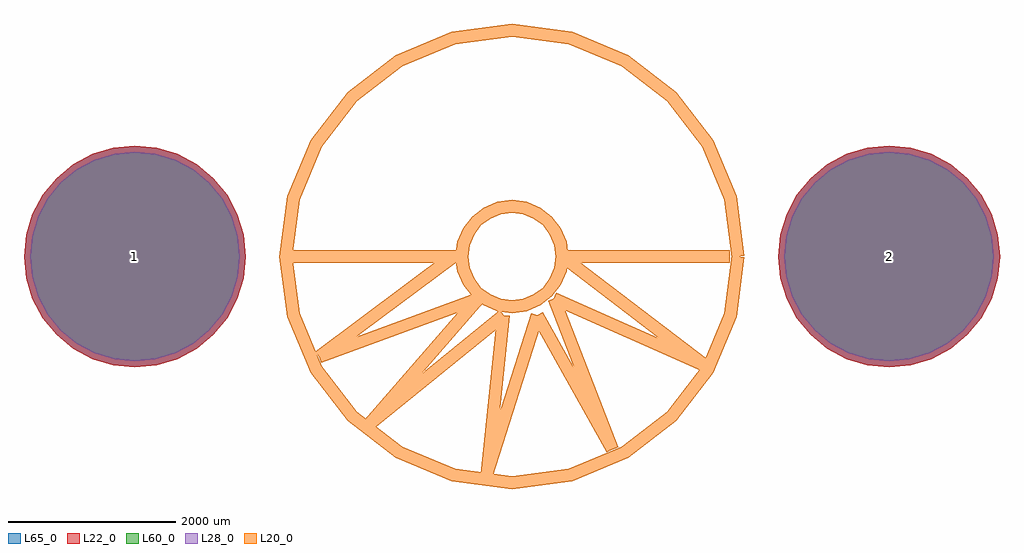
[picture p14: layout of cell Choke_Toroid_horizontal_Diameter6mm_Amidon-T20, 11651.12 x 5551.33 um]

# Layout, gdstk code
import gdstk
lib = gdstk.Library(unit=1e-6, precision=1e-09)
def P(c, l, *ps):  # polygons
    for p in ps: c.add(gdstk.Polygon(p, *l))
L20_0 = (20, 0)
L22_0 = (22, 0)
L28_0 = (28, 0)
L60_0 = (60, 0)
L65_0 = (65, 0)

choke_toroid_horizontal_ = lib.new_cell('Choke_Toroid_horizontal_Diameter6mm_Amidon-T20')
P(choke_toroid_horizontal_, L22_0, [(5825.56,0),(5800.107,258.432),(5724.725,506.933),(5602.311,735.953),(5437.57,936.69),(5236.833,1101.431),(5007.813,1223.845),(4759.312,1299.227),(4500.88,1324.68),(4242.448,1299.227),(3993.947,1223.845),(3764.927,1101.431),(3564.19,936.69),(3399.449,735.953),(3277.035,506.933),(3201.653,258.432),(3176.2,0),(3201.653,-258.432),(3277.035,-506.933),(3399.449,-735.953),(3564.19,-936.69),(3764.927,-1101.431),(3993.947,-1223.845),(4242.448,-1299.227),(4500.88,-1324.68),(4759.312,-1299.227),(5007.813,-1223.845),(5236.833,-1101.431),(5437.57,-936.69),(5602.311,-735.953),(5724.725,-506.933),(5800.107,-258.432)],
  [(-3176.2,0),(-3201.653,258.432),(-3277.035,506.933),(-3399.449,735.953),(-3564.19,936.69),(-3764.927,1101.431),(-3993.947,1223.845),(-4242.448,1299.227),(-4500.88,1324.68),(-4759.312,1299.227),(-5007.813,1223.845),(-5236.833,1101.431),(-5437.57,936.69),(-5602.311,735.953),(-5724.725,506.933),(-5800.107,258.432),(-5825.56,0),(-5800.107,-258.432),(-5724.725,-506.933),(-5602.311,-735.953),(-5437.57,-936.69),(-5236.833,-1101.431),(-5007.813,-1223.845),(-4759.312,-1299.227),(-4500.88,-1324.68),(-4242.448,-1299.227),(-3993.947,-1223.845),(-3764.927,-1101.431),(-3564.19,-936.69),(-3399.449,-735.953),(-3277.035,-506.933),(-3201.653,-258.432)])
P(choke_toroid_horizontal_, L28_0, [(5750.56,0),(5726.548,243.8),(5655.434,478.232),(5539.951,694.285),(5384.537,883.657),(5195.165,1039.071),(4979.112,1154.554),(4744.68,1225.668),(4500.88,1249.68),(4257.08,1225.668),(4022.648,1154.554),(3806.595,1039.071),(3617.223,883.657),(3461.809,694.285),(3346.326,478.232),(3275.212,243.8),(3251.2,0),(3275.212,-243.8),(3346.326,-478.232),(3461.809,-694.285),(3617.223,-883.657),(3806.595,-1039.071),(4022.648,-1154.554),(4257.08,-1225.668),(4500.88,-1249.68),(4744.68,-1225.668),(4979.112,-1154.554),(5195.165,-1039.071),(5384.537,-883.657),(5539.951,-694.285),(5655.434,-478.232),(5726.548,-243.8)],
  [(-3251.2,0),(-3275.212,243.8),(-3346.326,478.232),(-3461.809,694.285),(-3617.223,883.657),(-3806.595,1039.071),(-4022.648,1154.554),(-4257.08,1225.668),(-4500.88,1249.68),(-4744.68,1225.668),(-4979.112,1154.554),(-5195.165,1039.071),(-5384.537,883.657),(-5539.951,694.285),(-5655.434,478.232),(-5726.548,243.8),(-5750.56,0),(-5726.548,-243.8),(-5655.434,-478.232),(-5539.951,-694.285),(-5384.537,-883.657),(-5195.165,-1039.071),(-4979.112,-1154.554),(-4744.68,-1225.668),(-4500.88,-1249.68),(-4257.08,-1225.668),(-4022.648,-1154.554),(-3806.595,-1039.071),(-3617.223,-883.657),(-3461.809,-694.285),(-3346.326,-478.232),(-3275.212,-243.8)])
P(choke_toroid_horizontal_, L60_0, [(5750.56,0),(5726.548,243.8),(5655.434,478.232),(5539.951,694.285),(5384.537,883.657),(5195.165,1039.071),(4979.112,1154.554),(4744.68,1225.668),(4500.88,1249.68),(4257.08,1225.668),(4022.648,1154.554),(3806.595,1039.071),(3617.223,883.657),(3461.809,694.285),(3346.326,478.232),(3275.212,243.8),(3251.2,0),(3275.212,-243.8),(3346.326,-478.232),(3461.809,-694.285),(3617.223,-883.657),(3806.595,-1039.071),(4022.648,-1154.554),(4257.08,-1225.668),(4500.88,-1249.68),(4744.68,-1225.668),(4979.112,-1154.554),(5195.165,-1039.071),(5384.537,-883.657),(5539.951,-694.285),(5655.434,-478.232),(5726.548,-243.8)],
  [(-3251.2,0),(-3275.212,243.8),(-3346.326,478.232),(-3461.809,694.285),(-3617.223,883.657),(-3806.595,1039.071),(-4022.648,1154.554),(-4257.08,1225.668),(-4500.88,1249.68),(-4744.68,1225.668),(-4979.112,1154.554),(-5195.165,1039.071),(-5384.537,883.657),(-5539.951,694.285),(-5655.434,478.232),(-5726.548,243.8),(-5750.56,0),(-5726.548,-243.8),(-5655.434,-478.232),(-5539.951,-694.285),(-5384.537,-883.657),(-5195.165,-1039.071),(-4979.112,-1154.554),(-4744.68,-1225.668),(-4500.88,-1249.68),(-4257.08,-1225.668),(-4022.648,-1154.554),(-3806.595,-1039.071),(-3617.223,-883.657),(-3461.809,-694.285),(-3346.326,-478.232),(-3275.212,-243.8)])
P(choke_toroid_horizontal_, L65_0, [(5825.56,0),(5800.107,258.432),(5724.725,506.933),(5602.311,735.953),(5437.57,936.69),(5236.833,1101.431),(5007.813,1223.845),(4759.312,1299.227),(4500.88,1324.68),(4242.448,1299.227),(3993.947,1223.845),(3764.927,1101.431),(3564.19,936.69),(3399.449,735.953),(3277.035,506.933),(3201.653,258.432),(3176.2,0),(3201.653,-258.432),(3277.035,-506.933),(3399.449,-735.953),(3564.19,-936.69),(3764.927,-1101.431),(3993.947,-1223.845),(4242.448,-1299.227),(4500.88,-1324.68),(4759.312,-1299.227),(5007.813,-1223.845),(5236.833,-1101.431),(5437.57,-936.69),(5602.311,-735.953),(5724.725,-506.933),(5800.107,-258.432)],
  [(-3176.2,0),(-3201.653,258.432),(-3277.035,506.933),(-3399.449,735.953),(-3564.19,936.69),(-3764.927,1101.431),(-3993.947,1223.845),(-4242.448,1299.227),(-4500.88,1324.68),(-4759.312,1299.227),(-5007.813,1223.845),(-5236.833,1101.431),(-5437.57,936.69),(-5602.311,735.953),(-5724.725,506.933),(-5800.107,258.432),(-5825.56,0),(-5800.107,-258.432),(-5724.725,-506.933),(-5602.311,-735.953),(-5437.57,-936.69),(-5236.833,-1101.431),(-5007.813,-1223.845),(-4759.312,-1299.227),(-4500.88,-1324.68),(-4242.448,-1299.227),(-3993.947,-1223.845),(-3764.927,-1101.431),(-3564.19,-936.69),(-3399.449,-735.953),(-3277.035,-506.933),(-3201.653,-258.432)])
choke_toroid_horizontal_.add(gdstk.FlexPath([(599.44,0),(579.015,155.146),(519.13,299.72),(423.868,423.868),(299.72,519.13),(155.146,579.015),(0,599.44),(-155.146,579.015),(-299.72,519.13),(-423.868,423.868),(-519.13,299.72),(-579.015,155.146),(-599.44,0),(-579.015,-155.146),(-519.13,-299.72),(-423.868,-423.868),(-299.72,-519.13),(-155.146,-579.015),(0,-599.44),(155.146,-579.015),(299.72,-519.13),(423.868,-423.868),(519.13,-299.72),(579.015,-155.146),(599.44,0)], 149.998, ends="flush", simple_path=True, layer=20, datatype=0))  # L20_0
choke_toroid_horizontal_.add(gdstk.FlexPath([(2700.02,0),(2608.019,698.817),(2338.286,1350.01),(1909.202,1909.202),(1350.01,2338.286),(698.817,2608.019),(0,2700.02),(-698.817,2608.019),(-1350.01,2338.286),(-1909.202,1909.202),(-2338.286,1350.01),(-2608.019,698.817),(-2700.02,0),(-2608.019,-698.817),(-2338.286,-1350.01),(-1909.202,-1909.202),(-1350.01,-2338.286),(-698.817,-2608.019),(0,-2700.02),(698.817,-2608.019),(1350.01,-2338.286),(1909.202,-1909.202),(2338.286,-1350.01),(2608.019,-698.817),(2700.02,0)], 149.998, ends="flush", simple_path=True, layer=20, datatype=0))  # L20_0
choke_toroid_horizontal_.add(gdstk.FlexPath([(-2700.02,0),(-599.44,0)], 149.998, ends="flush", simple_path=True, layer=20, datatype=0))  # L20_0
choke_toroid_horizontal_.add(gdstk.FlexPath([(599.44,0),(2600.96,0)], 149.998, ends="flush", simple_path=True, layer=20, datatype=0))  # L20_0
choke_toroid_horizontal_.add(gdstk.FlexPath([(2301.24,-1300.48),(599.44,0)], 149.998, ends="flush", simple_path=True, layer=20, datatype=0))  # L20_0
choke_toroid_horizontal_.add(gdstk.FlexPath([(500.38,-500.38),(2301.24,-1300.48)], 149.998, ends="flush", simple_path=True, layer=20, datatype=0))  # L20_0
choke_toroid_horizontal_.add(gdstk.FlexPath([(1198.88,-2301.24),(500.38,-500.38)], 149.998, ends="flush", simple_path=True, layer=20, datatype=0))  # L20_0
choke_toroid_horizontal_.add(gdstk.FlexPath([(299.72,-701.04),(1198.88,-2301.24)], 149.998, ends="flush", simple_path=True, layer=20, datatype=0))  # L20_0
choke_toroid_horizontal_.add(gdstk.FlexPath([(-299.72,-2600.96),(299.72,-701.04)], 149.998, ends="flush", simple_path=True, layer=20, datatype=0))  # L20_0
choke_toroid_horizontal_.add(gdstk.FlexPath([(-99.06,-701.04),(-299.72,-2600.96)], 149.998, ends="flush", simple_path=True, layer=20, datatype=0))  # L20_0
choke_toroid_horizontal_.add(gdstk.FlexPath([(-1699.26,-1998.98),(-99.06,-701.04)], 149.998, ends="flush", simple_path=True, layer=20, datatype=0))  # L20_0
choke_toroid_horizontal_.add(gdstk.FlexPath([(-398.78,-500.38),(-1699.26,-1998.98)], 149.998, ends="flush", simple_path=True, layer=20, datatype=0))  # L20_0
choke_toroid_horizontal_.add(gdstk.FlexPath([(-2301.24,-1198.88),(-398.78,-500.38)], 149.998, ends="flush", simple_path=True, layer=20, datatype=0))  # L20_0
choke_toroid_horizontal_.add(gdstk.FlexPath([(-701.04,0),(-2301.24,-1198.88)], 149.998, ends="flush", simple_path=True, layer=20, datatype=0))  # L20_0
choke_toroid_horizontal_.add(gdstk.Label('2', (4500.88,0), layer=28, texttype=0))
choke_toroid_horizontal_.add(gdstk.Label('1', (-4500.88,0), layer=28, texttype=0))
choke_toroid_horizontal_.add(gdstk.Label('Start', (-8600.44,2900.68), layer=9, texttype=0))
choke_toroid_horizontal_.add(gdstk.Label('End', (8199.12,2900.68), layer=9, texttype=0))
choke_toroid_horizontal_.add(gdstk.Label('type', (0,-3810), layer=9, texttype=0))
choke_toroid_horizontal_.add(gdstk.Label('devicename', (0,3810), layer=9, texttype=0))

lib.write_gds('Choke_Toroid_horizontal_Diameter6mm_Amidon-T20.gds')
